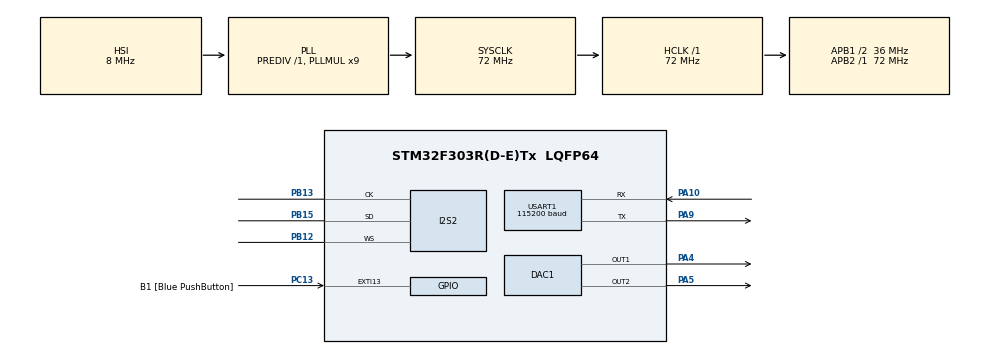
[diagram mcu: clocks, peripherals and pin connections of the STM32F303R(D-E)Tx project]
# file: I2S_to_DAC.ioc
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Mcu.Family=STM32F3
RCC.CortexFreq_Value=72000000
Dma.DAC1_CH1.0.Priority=DMA_PRIORITY_LOW
DAC1.DAC_OutputBuffer=DAC_OUTPUTBUFFER_ENABLE
SH.COMP_DAC12_group.0=DAC1_OUT2,Enable_DAC_OUT2
USART1.BaudRate=115200
PA14.GPIO_Label=TCK
RCC.SYSCLKSourceVirtual=RCC_SYSCLKSOURCE_PLLCLK
DAC1.DAC_Trigger2=DAC_TRIGGER_T2_TRGO
PC13.GPIO_Label=B1 [Blue PushButton]
PB15.Signal=I2S2_SD
PB13.Signal=I2S2_CK
ProjectManager.StackSize=0x400
NVIC.DMA1_Channel3_IRQn=true\:0\:0\:false\:false\:true\:false\:true
Dma.DAC1_CH2.1.MemInc=DMA_MINC_ENABLE
RCC.HCLKFreq_Value=72000000
RCC.APB2TimFreq_Value=72000000
RCC.Usart2ClockSelection=RCC_USART2CLKSOURCE_SYSCLK
RCC.AHBFreq_Value=72000000
RCC.HSE_VALUE=8000000
RCC.RCC_PLLsource_Clock_Source_FROM_HSE=RCC_HSE_PREDIV_DIV2
RCC.PLLMUL=RCC_PLL_MUL9
Dma.DAC1_CH2.1.PeriphDataAlignment=DMA_PDATAALIGN_HALFWORD
PA14.Mode=Serial_Wire
Dma.DAC1_CH1.0.Mode=DMA_CIRCULAR
NVIC.TIM2_IRQn=true\:0\:0\:false\:false\:true\:true\:true
Dma.DAC1_CH2.1.Direction=DMA_MEMORY_TO_PERIPH
NVIC.SPI2_IRQn=true\:0\:0\:false\:false\:true\:true\:true
I2S2.DataFormat=I2S_DATAFORMAT_32B
DAC1.DAC_Trigger=DAC_TRIGGER_T2_TRGO
Mcu.Package=LQFP64
TIM2.Prescaler=72
PB12.Mode=Half_Duplex_Slave
I2S2.Mode=I2S_MODE_SLAVE_RX
PA10.Signal=USART1_RX
Dma.DAC1_CH1.0.Instance=DMA1_Channel3
TIM2.TIM_MasterOutputTrigger=TIM_TRGO_UPDATE
Dma.Request1=DAC1_CH2
RCC.APB1TimFreq_Value=72000000
PB13.Mode=Half_Duplex_Slave
NVIC.DMA1_Channel4_IRQn=true\:0\:0\:false\:false\:true\:false\:true
Dma.Request0=DAC1_CH1
Dma.DAC1_CH1.0.PeriphInc=DMA_PINC_DISABLE
PB3.GPIO_Label=SWO
I2S2.AudioFreq=I2S_AUDIOFREQ_44K
Dma.DAC1_CH2.1.PeriphInc=DMA_PINC_DISABLE
I2S2.Instance=SPI$Index
PA10.Mode=Asynchronous
PC13.Signal=GPXTI13
Dma.DAC1_CH2.1.Instance=DMA1_Channel4
Dma.DAC1_CH2.1.MemDataAlignment=DMA_MDATAALIGN_HALFWORD
RCC.APB1CLKDivider=RCC_HCLK_DIV2
USART1.VirtualMode-Asynchronous=VM_ASYNC
PA13.Signal=SYS_JTMS-SWDIO
PA9.Mode=Asynchronous
ProjectManager.TargetToolchain=Makefile
SH.COMP_DAC11_group.0=DAC1_OUT1,DAC_OUT1
PA9.Signal=USART1_TX
I2S2.VirtualMode=I2S_MODE_SLAVE
PB13.GPIO_Speed=GPIO_SPEED_FREQ_HIGH
RCC.USBFreq_Value=72000000
RCC.LSE_VALUE=32768
PB12.GPIO_Speed=GPIO_SPEED_FREQ_HIGH
PA5.Signal=COMP_DAC12_group
Dma.DAC1_CH1.0.MemDataAlignment=DMA_MDATAALIGN_HALFWORD
board=NUCLEO-F303RE
PB15.Mode=Half_Duplex_Slave
RCC.APB2Freq_Value=72000000
Dma.DAC1_CH2.1.Priority=DMA_PRIORITY_LOW
VP_TIM2_VS_ClockSourceINT.Mode=Internal
PB15.GPIO_Speed=GPIO_SPEED_FREQ_HIGH
Dma.DAC1_CH1.0.PeriphDataAlignment=DMA_PDATAALIGN_HALFWORD
TIM2.Period=22
Dma.DAC1_CH1.0.MemInc=DMA_MINC_ENABLE
PA13.Mode=Serial_Wire
Mcu.Name=STM32F303R(D-E)Tx
PA13.GPIO_Label=TMS
I2S2.FullDuplexMode=I2S_FULLDUPLEXMODE_DISABLE
PB3.Signal=SYS_JTDO-TRACESWO
PA4.Signal=COMP_DAC11_group
RCC.SYSCLKFreq_VALUE=72000000
I2S2.ErrorAudioFreq=-1.66 %
PC13.GPIO_ModeDefaultEXTI=GPIO_MODE_IT_FALLING
PA14.Signal=SYS_JTCK-SWCLK
ProjectManager.HeapSize=0x200
Dma.DAC1_CH2.1.Mode=DMA_CIRCULAR
RCC.HSI_VALUE=8000000
RCC.PLLP=RCC_PLLP_DIV4
RCC.PLLQ=7
NVIC.PriorityGroup=NVIC_PRIORITYGROUP_0
RCC.PLLM=8
RCC.PLLN=336
TIM2.AutoReloadPreload=TIM_AUTORELOAD_PRELOAD_ENABLE
RCC.APB1Freq_Value=36000000
I2S2.RealAudioFreq=43.269 KHz
I2S2.Standard=I2S_STANDARD_PHILIPS
Dma.DAC1_CH1.0.Direction=DMA_MEMORY_TO_PERIPH
PB12.Signal=I2S2_WS

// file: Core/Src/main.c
/* USER CODE BEGIN Header */
/**
  ******************************************************************************
  * @file           : main.c
  * @brief          : Main program body
  ******************************************************************************
  * @attention
  *
  * <h2><center>&copy; Copyright (c) 2021 STMicroelectronics.
  * All rights reserved.</center></h2>
  *
  * This software component is licensed by ST under BSD 3-Clause license,
  * the "License"; You may not use this file except in compliance with the
  * License. You may obtain a copy of the License at:
  *                        opensource.org/licenses/BSD-3-Clause
  *
  ******************************************************************************
  */
/* USER CODE END Header */
#include "main.h"

/* USER CODE BEGIN Includes */
#include <stdio.h>
#include <string.h>
#include <stdbool.h>

#include "RingBuffer.h"
#include "utils.h"
#include "config.h"
/* USER CODE END Includes */

/* USER CODE BEGIN PD */
#define APP_I2S_BUFFER_SIZE APP_AUDIO_BUFFER_SIZE

/* I2S Samples are signed and must be shifted, so dac can output proper values */
#define APP_I2S_SAMPLE_SHIFT(value) (value + 32768)
/* USER CODE END PD */

/* USER CODE BEGIN PM */
typedef struct app_context {

  struct audio_buffer {
    uint16_t left_channel[APP_AUDIO_BUFFER_SIZE];
    uint16_t right_channel[APP_AUDIO_BUFFER_SIZE];
  } audio_buffer;

  union audio_sample {
    struct {
      int16_t left_channel;
      int16_t right_channel;
    };
    uint32_t data;
  } __attribute__((packed)) i2s_buffer[APP_I2S_BUFFER_SIZE];
} app_context_t;

/* USER CODE END PM */

DAC_HandleTypeDef hdac1;
DMA_HandleTypeDef hdma_dac1_ch1;
DMA_HandleTypeDef hdma_dac1_ch2;

I2S_HandleTypeDef hi2s2;

TIM_HandleTypeDef htim2;

UART_HandleTypeDef huart1;

/* USER CODE BEGIN PV */
static app_context_t app_context;
/* USER CODE END PV */

void SystemClock_Config(void);
static void MX_GPIO_Init(void);
static void MX_DMA_Init(void);
static void MX_I2S2_Init(void);
static void MX_DAC1_Init(void);
static void MX_USART1_UART_Init(void);
static void MX_TIM2_Init(void);

/* USER CODE BEGIN 0 */
void HAL_I2S_RxCpltCallback(I2S_HandleTypeDef *hi2s)
{
  for (unsigned i = 0; i < APP_I2S_BUFFER_SIZE; i++) {
    app_context.audio_buffer.left_channel[i] =
                  APP_I2S_SAMPLE_SHIFT(app_context.i2s_buffer[i].left_channel);
    app_context.audio_buffer.right_channel[i] =
                  APP_I2S_SAMPLE_SHIFT(app_context.i2s_buffer[i].right_channel);
  }

  HAL_I2S_Receive_IT(&hi2s2, (uint16_t*)app_context.i2s_buffer,
                     APP_I2S_BUFFER_SIZE);
}

/* USER CODE END 0 */

int main(void)
{

  /* MCU Configuration--------------------------------------------------------*/

  /* Reset of all peripherals, Initializes the Flash interface and the Systick. */
  HAL_Init();

  /* Configure the system clock */
  SystemClock_Config();

  /* Initialize all configured peripherals */
  MX_GPIO_Init();
  MX_DMA_Init();
  MX_I2S2_Init();
  MX_DAC1_Init();
  MX_USART1_UART_Init();
  MX_TIM2_Init();
  /* USER CODE BEGIN 2 */
  utils_print_init(&huart1, APP_UART_LOGGER_TIMEOUT_MS);
  UTILS_PRINT_INFO("I2S To Dac Coverter started!\n");

  HAL_DAC_Start_DMA(&hdac1, DAC_CHANNEL_1,
                    (uint32_t*)app_context.audio_buffer.left_channel,
                    APP_AUDIO_BUFFER_SIZE, DAC_ALIGN_12B_L);
  HAL_DAC_Start_DMA(&hdac1, DAC_CHANNEL_2,
                    (uint32_t*)app_context.audio_buffer.right_channel,
                    APP_AUDIO_BUFFER_SIZE, DAC_ALIGN_12B_L);

  HAL_I2S_Receive_IT(&hi2s2, (uint16_t*)app_context.i2s_buffer, APP_I2S_BUFFER_SIZE);
  HAL_TIM_Base_Start_IT(&htim2);
  /* USER CODE END 2 */

  /* Infinite loop */
  while (1)
  {

    /* USER CODE BEGIN 3 */
    for (int i = 0; i < APP_AUDIO_BUFFER_SIZE; i++) {
      UTILS_PRINT_INFO("%u %u\n\r", app_context.audio_buffer.left_channel[i],
                                    app_context.audio_buffer.right_channel[i]);
    }

    HAL_Delay(100);
  }
  /* USER CODE END 3 */
}

void SystemClock_Config(void)
{
  RCC_OscInitTypeDef RCC_OscInitStruct = {0};
  RCC_ClkInitTypeDef RCC_ClkInitStruct = {0};
  RCC_PeriphCLKInitTypeDef PeriphClkInit = {0};

  /** Initializes the RCC Oscillators according to the specified parameters
  * in the RCC_OscInitTypeDef structure.
  */
  RCC_OscInitStruct.OscillatorType = RCC_OSCILLATORTYPE_HSI;
  RCC_OscInitStruct.HSIState = RCC_HSI_ON;
  RCC_OscInitStruct.HSICalibrationValue = RCC_HSICALIBRATION_DEFAULT;
  RCC_OscInitStruct.PLL.PLLState = RCC_PLL_ON;
  RCC_OscInitStruct.PLL.PLLSource = RCC_PLLSOURCE_HSI;
  RCC_OscInitStruct.PLL.PLLMUL = RCC_PLL_MUL9;
  RCC_OscInitStruct.PLL.PREDIV = RCC_PREDIV_DIV1;
  if (HAL_RCC_OscConfig(&RCC_OscInitStruct) != HAL_OK)
  {
    Error_Handler();
  }
  /** Initializes the CPU, AHB and APB buses clocks
  */
  RCC_ClkInitStruct.ClockType = RCC_CLOCKTYPE_HCLK|RCC_CLOCKTYPE_SYSCLK
                              |RCC_CLOCKTYPE_PCLK1|RCC_CLOCKTYPE_PCLK2;
  RCC_ClkInitStruct.SYSCLKSource = RCC_SYSCLKSOURCE_PLLCLK;
  RCC_ClkInitStruct.AHBCLKDivider = RCC_SYSCLK_DIV1;
  RCC_ClkInitStruct.APB1CLKDivider = RCC_HCLK_DIV2;
  RCC_ClkInitStruct.APB2CLKDivider = RCC_HCLK_DIV1;

  if (HAL_RCC_ClockConfig(&RCC_ClkInitStruct, FLASH_LATENCY_2) != HAL_OK)
  {
    Error_Handler();
  }
  PeriphClkInit.PeriphClockSelection = RCC_PERIPHCLK_I2S|RCC_PERIPHCLK_USART1
                              |RCC_PERIPHCLK_TIM2;
  PeriphClkInit.Usart1ClockSelection = RCC_USART1CLKSOURCE_PCLK2;
  PeriphClkInit.I2sClockSelection = RCC_I2SCLKSOURCE_SYSCLK;
  PeriphClkInit.Tim2ClockSelection = RCC_TIM2CLK_HCLK;
  if (HAL_RCCEx_PeriphCLKConfig(&PeriphClkInit) != HAL_OK)
  {
    Error_Handler();
  }
}

static void MX_DAC1_Init(void)
{

  DAC_ChannelConfTypeDef sConfig = {0};

  /** DAC Initialization
  */
  hdac1.Instance = DAC1;
  if (HAL_DAC_Init(&hdac1) != HAL_OK)
  {
    Error_Handler();
  }
  /** DAC channel OUT1 config
  */
  sConfig.DAC_Trigger = DAC_TRIGGER_T2_TRGO;
  sConfig.DAC_OutputBuffer = DAC_OUTPUTBUFFER_ENABLE;
  if (HAL_DAC_ConfigChannel(&hdac1, &sConfig, DAC_CHANNEL_1) != HAL_OK)
  {
    Error_Handler();
  }
  /** DAC channel OUT2 config
  */
  if (HAL_DAC_ConfigChannel(&hdac1, &sConfig, DAC_CHANNEL_2) != HAL_OK)
  {
    Error_Handler();
  }

}

static void MX_I2S2_Init(void)
{

  hi2s2.Instance = SPI2;
  hi2s2.Init.Mode = I2S_MODE_SLAVE_RX;
  hi2s2.Init.Standard = I2S_STANDARD_PHILIPS;
  hi2s2.Init.DataFormat = I2S_DATAFORMAT_32B;
  hi2s2.Init.MCLKOutput = I2S_MCLKOUTPUT_DISABLE;
  hi2s2.Init.AudioFreq = I2S_AUDIOFREQ_44K;
  hi2s2.Init.CPOL = I2S_CPOL_LOW;
  hi2s2.Init.ClockSource = I2S_CLOCK_SYSCLK;
  hi2s2.Init.FullDuplexMode = I2S_FULLDUPLEXMODE_DISABLE;
  if (HAL_I2S_Init(&hi2s2) != HAL_OK)
  {
    Error_Handler();
  }

}

static void MX_TIM2_Init(void)
{

  TIM_ClockConfigTypeDef sClockSourceConfig = {0};
  TIM_MasterConfigTypeDef sMasterConfig = {0};

  htim2.Instance = TIM2;
  htim2.Init.Prescaler = 72;
  htim2.Init.CounterMode = TIM_COUNTERMODE_UP;
  htim2.Init.Period = 22;
  htim2.Init.ClockDivision = TIM_CLOCKDIVISION_DIV1;
  htim2.Init.AutoReloadPreload = TIM_AUTORELOAD_PRELOAD_ENABLE;
  if (HAL_TIM_Base_Init(&htim2) != HAL_OK)
  {
    Error_Handler();
  }
  sClockSourceConfig.ClockSource = TIM_CLOCKSOURCE_INTERNAL;
  if (HAL_TIM_ConfigClockSource(&htim2, &sClockSourceConfig) != HAL_OK)
  {
    Error_Handler();
  }
  sMasterConfig.MasterOutputTrigger = TIM_TRGO_UPDATE;
  sMasterConfig.MasterSlaveMode = TIM_MASTERSLAVEMODE_DISABLE;
  if (HAL_TIMEx_MasterConfigSynchronization(&htim2, &sMasterConfig) != HAL_OK)
  {
    Error_Handler();
  }

}

static void MX_USART1_UART_Init(void)
{

  huart1.Instance = USART1;
  huart1.Init.BaudRate = 115200;
  huart1.Init.WordLength = UART_WORDLENGTH_8B;
  huart1.Init.StopBits = UART_STOPBITS_1;
  huart1.Init.Parity = UART_PARITY_NONE;
  huart1.Init.Mode = UART_MODE_TX_RX;
  huart1.Init.HwFlowCtl = UART_HWCONTROL_NONE;
  huart1.Init.OverSampling = UART_OVERSAMPLING_16;
  huart1.Init.OneBitSampling = UART_ONE_BIT_SAMPLE_DISABLE;
  huart1.AdvancedInit.AdvFeatureInit = UART_ADVFEATURE_NO_INIT;
  if (HAL_UART_Init(&huart1) != HAL_OK)
  {
    Error_Handler();
  }

}

static void MX_DMA_Init(void)
{

  /* DMA controller clock enable */
  __HAL_RCC_DMA1_CLK_ENABLE();

  /* DMA interrupt init */
  /* DMA1_Channel3_IRQn interrupt configuration */
  HAL_NVIC_SetPriority(DMA1_Channel3_IRQn, 0, 0);
  HAL_NVIC_EnableIRQ(DMA1_Channel3_IRQn);
  /* DMA1_Channel4_IRQn interrupt configuration */
  HAL_NVIC_SetPriority(DMA1_Channel4_IRQn, 0, 0);
  HAL_NVIC_EnableIRQ(DMA1_Channel4_IRQn);

}

static void MX_GPIO_Init(void)
{
  GPIO_InitTypeDef GPIO_InitStruct = {0};

  /* GPIO Ports Clock Enable */
  __HAL_RCC_GPIOC_CLK_ENABLE();
  __HAL_RCC_GPIOA_CLK_ENABLE();
  __HAL_RCC_GPIOB_CLK_ENABLE();

  /*Configure GPIO pin : B1_Pin */
  GPIO_InitStruct.Pin = B1_Pin;
  GPIO_InitStruct.Mode = GPIO_MODE_IT_FALLING;
  GPIO_InitStruct.Pull = GPIO_NOPULL;
  HAL_GPIO_Init(B1_GPIO_Port, &GPIO_InitStruct);

}

void Error_Handler(void)
{
  __disable_irq();
  while (1)
  {
  }
}

/************************ (C) COPYRIGHT STMicroelectronics *****END OF FILE****/
